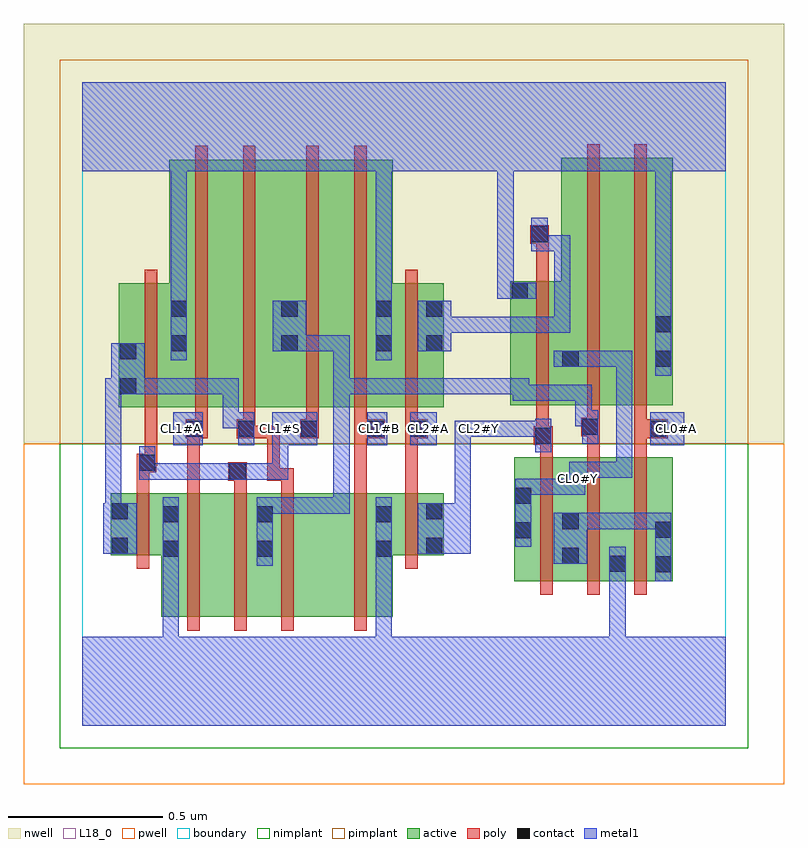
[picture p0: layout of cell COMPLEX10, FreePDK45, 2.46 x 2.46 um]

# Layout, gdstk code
import gdstk
lib = gdstk.Library(unit=1e-6, precision=1e-09)
def R(c, l, rs):  # rectangles x0, y0, x1, y1
    for r in rs: c.add(gdstk.rectangle(r[:2], r[2:], *l))
def A(c, l, x, y, w, h, nx, ny, dx, dy):  # array of equal rectangles
    R(c, l, [(x+i*dx, y+j*dy, x+i*dx+w, y+j*dy+h) for i in range(nx) for j in range(ny)])
active = (1, 0)
pwell = (2, 0)
nwell = (3, 0)
nimplant = (4, 0)
pimplant = (5, 0)
poly = (9, 0)
contact = (10, 0)
metal1 = (11, 0)
L18_0 = (18, 0)
boundary = (235, 0)

complex10 = lib.new_cell('COMPLEX10')
R(complex10, active, [(0.256,0.352,0.436,0.752), (0.436,0.352,0.62,0.752), (0.56,0.352,0.824,0.752), (0.824,0.352,1.004,0.752), (0.56,0.468,0.62,0.714), (1.396,0.468,1.456,0.868), (1.396,0.468,1.608,0.868), (1.548,0.468,1.76,0.868), (1.548,0.468,1.608,0.692), (1.7,0.468,1.908,0.868), (1.7,0.468,1.76,0.854), (1.848,0.468,1.908,0.868), (0.256,0.542,0.316,0.714), (0.944,0.542,1.004,0.752), (0.092,0.552,0.152,0.752), (0.092,0.552,0.316,0.752), (0.944,0.552,1.168,0.752), (1.108,0.552,1.168,0.752), (0.118,1.03,0.342,1.43), (0.118,1.03,0.178,1.356), (0.282,1.03,0.342,1.378), (0.282,1.03,0.464,1.83), (0.464,1.03,0.7,1.83), (0.64,1.03,0.824,1.83), (0.824,1.03,1.004,1.83), (0.944,1.03,1.168,1.43), (0.944,1.03,1.004,1.378), (1.108,1.03,1.168,1.378), (1.384,1.036,1.444,1.436), (1.384,1.036,1.608,1.436), (1.548,1.036,1.728,1.836), (1.728,1.036,1.908,1.836), (1.848,1.036,1.908,1.756), (1.548,1.156,1.608,1.62), (0.64,1.206,0.7,1.724)])
R(complex10, pwell, [(-0.188,-0.188,2.268,0.912)])
R(complex10, nwell, [(-0.188,0.912,2.268,2.268)])
R(complex10, nimplant, [(-0.072,-0.072,2.152,0.912)])
R(complex10, pimplant, [(-0.072,0.912,2.152,2.152)])
A(complex10, poly, 0.34, 0.308, 0.04, 0.488, 3, 1, 0.152, 0)
A(complex10, poly, 1.48, 0.424, 0.04, 0.488, 3, 1, 0.152, 0)
R(complex10, poly, [(0.88,0.308,0.92,0.796), (0.176,0.508,0.216,0.796), (1.044,0.508,1.084,0.796), (0.176,0.756,0.216,0.86), (0.34,0.756,0.38,0.97), (0.492,0.756,0.532,0.832), (0.644,0.756,0.684,0.832), (0.88,0.756,0.92,0.97), (1.044,0.756,1.084,0.97), (0.472,0.792,0.532,0.852), (0.598,0.792,0.638,0.832), (0.598,0.792,0.684,0.832), (0.598,0.792,0.638,0.97), (0.644,0.792,0.684,0.832), (0.176,0.82,0.24,0.88), (0.2,0.84,0.24,0.88), (0.2,0.84,0.242,0.88), (0.202,0.84,0.242,1.026), (1.48,0.872,1.52,0.948), (1.632,0.872,1.672,0.976), (1.784,0.872,1.824,0.97), (1.46,0.908,1.52,0.968), (1.468,0.928,1.508,0.968), (1.468,0.928,1.508,0.968), (1.468,0.928,1.508,1.032), (0.334,0.93,0.406,0.99), (0.34,0.93,0.38,0.97), (0.34,0.93,0.38,0.97), (0.5,0.93,0.56,0.99), (0.52,0.93,0.638,0.97), (0.598,0.93,0.638,0.97), (0.704,0.93,0.764,0.99), (0.88,0.93,0.978,0.99), (1.044,0.93,1.116,0.99), (1.784,0.93,1.892,0.99), (1.612,0.936,1.672,0.996), (1.632,0.936,1.672,0.976), (1.632,0.936,1.672,0.976), (0.366,0.95,0.406,1.026), (0.52,0.95,0.56,1.026), (0.724,0.95,0.764,1.026), (0.88,0.95,0.92,0.99), (0.88,0.95,0.92,0.99), (0.88,0.95,0.92,1.026), (1.044,0.95,1.084,0.99), (1.044,0.95,1.084,0.99), (1.044,0.95,1.084,1.026), (1.784,0.95,1.824,1.032), (1.784,0.95,1.824,0.99), (1.784,0.95,1.824,0.99), (1.632,0.956,1.672,1.032), (0.202,0.986,0.242,1.474), (0.366,0.986,0.406,1.874), (0.52,0.986,0.56,1.874), (0.724,0.986,0.764,1.874), (0.88,0.986,0.92,1.874), (1.044,0.986,1.084,1.474), (1.468,0.992,1.508,1.48), (1.632,0.992,1.672,1.88), (1.784,0.992,1.824,1.88), (1.468,1.44,1.508,1.598), (1.448,1.558,1.508,1.618)])
R(complex10, contact, [(1.852,0.496,1.904,0.548), (1.704,0.498,1.756,0.55), (1.552,0.524,1.604,0.576), (0.26,0.546,0.312,0.598), (0.564,0.546,0.616,0.598), (0.948,0.546,1,0.598), (0.096,0.556,0.148,0.608), (1.112,0.556,1.164,0.608), (1.4,0.606,1.452,0.658), (1.852,0.608,1.904,0.66), (1.552,0.636,1.604,0.688), (0.26,0.658,0.312,0.71), (0.564,0.658,0.616,0.71), (0.948,0.658,1,0.71), (0.096,0.668,0.148,0.72), (1.112,0.668,1.164,0.72), (1.4,0.718,1.452,0.77), (0.476,0.796,0.528,0.848), (0.184,0.824,0.236,0.876), (1.464,0.912,1.516,0.964), (0.338,0.934,0.39,0.986), (0.504,0.934,0.556,0.986), (0.708,0.934,0.76,0.986), (0.922,0.934,0.974,0.986), (1.06,0.934,1.112,0.986), (1.836,0.934,1.888,0.986), (1.616,0.94,1.668,0.992), (0.122,1.072,0.174,1.124), (1.552,1.16,1.604,1.212), (1.852,1.16,1.904,1.212), (0.122,1.184,0.174,1.236), (0.286,1.21,0.338,1.262), (0.644,1.21,0.696,1.262), (0.948,1.21,1,1.262), (1.112,1.21,1.164,1.262), (1.852,1.272,1.904,1.324), (0.286,1.322,0.338,1.374), (0.644,1.322,0.696,1.374), (0.948,1.322,1,1.374), (1.112,1.322,1.164,1.374), (1.388,1.38,1.44,1.432), (1.452,1.562,1.504,1.614)])
R(complex10, metal1, [(0,0,2.08,0.288), (0.26,0.236,0.312,0.288), (0.26,0.236,0.312,0.288), (0.26,0.236,0.312,0.57), (0.948,0.236,1,0.57), (1.704,0.236,1.756,0.288), (1.704,0.236,1.756,0.288), (1.704,0.236,1.756,0.522), (1.852,0.468,1.904,0.688), (1.704,0.47,1.756,0.578), (0.26,0.518,0.312,0.738), (0.564,0.518,0.616,0.738), (0.948,0.518,1,0.738), (0.948,0.518,1,0.57), (0.948,0.518,1,0.57), (1.524,0.524,1.632,0.688), (0.068,0.556,0.176,0.72), (1.084,0.556,1.256,0.72), (1.4,0.578,1.452,0.798), (1.58,0.636,1.778,0.688), (1.726,0.636,1.778,0.688), (1.726,0.636,1.778,0.688), (1.726,0.636,1.778,0.688), (1.726,0.636,1.778,0.688), (1.726,0.636,1.778,0.688), (1.726,0.636,1.904,0.688), (1.852,0.636,1.904,0.688), (1.852,0.636,1.904,0.688), (0.074,0.668,0.126,1.124), (1.204,0.668,1.256,0.986), (0.564,0.686,0.864,0.738), (0.812,0.686,0.864,0.738), (0.812,0.686,0.864,0.738), (0.812,0.686,0.864,0.738), (0.812,0.686,0.864,0.738), (0.812,0.686,0.864,0.738), (0.812,0.686,0.864,1.124), (1.4,0.746,1.452,0.798), (1.4,0.746,1.452,0.798), (1.4,0.746,1.626,0.798), (1.574,0.746,1.626,0.798), (1.574,0.746,1.626,0.798), (1.574,0.746,1.626,0.854), (0.184,0.796,0.236,0.904), (0.184,0.796,0.39,0.848), (0.338,0.796,0.39,0.848), (0.338,0.796,0.39,0.848), (0.338,0.796,0.39,0.848), (0.338,0.796,0.5,0.848), (0.448,0.796,0.5,0.848), (0.448,0.796,0.5,0.848), (0.448,0.796,0.556,0.848), (0.504,0.796,0.666,0.848), (0.614,0.796,0.666,0.848), (0.614,0.796,0.666,0.958), (1.574,0.802,1.778,0.854), (1.726,0.802,1.778,0.854), (1.726,0.802,1.778,0.854), (1.726,0.802,1.778,0.854), (1.726,0.802,1.778,1.212), (1.464,0.884,1.516,0.992), (0.294,0.906,0.39,1.014), (0.504,0.906,0.556,1.014), (0.614,0.906,0.666,0.958), (0.614,0.906,0.666,0.958), (0.614,0.906,0.76,1.014), (0.922,0.906,0.986,1.014), (1.06,0.906,1.146,1.014), (1.836,0.906,1.946,1.014), (1.616,0.912,1.668,1.02), (1.204,0.934,1.334,0.986), (1.282,0.934,1.334,0.986), (1.282,0.934,1.334,0.986), (1.282,0.934,1.516,0.986), (0.454,0.962,0.506,1.014), (0.454,0.962,0.506,1.124), (0.454,0.962,0.556,1.014), (1.594,0.968,1.668,1.02), (1.594,0.968,1.646,1.102), (1.392,1.05,1.444,1.102), (1.392,1.05,1.444,1.102), (1.392,1.05,1.646,1.102), (1.392,1.05,1.444,1.124), (0.074,1.072,0.126,1.124), (0.074,1.072,0.126,1.124), (0.074,1.072,0.146,1.124), (0.094,1.072,0.146,1.124), (0.094,1.072,0.202,1.236), (0.15,1.072,0.202,1.124), (0.15,1.072,0.202,1.124), (0.15,1.072,0.346,1.124), (0.294,1.072,0.346,1.124), (0.294,1.072,0.346,1.124), (0.294,1.072,0.346,1.124), (0.294,1.072,0.506,1.124), (0.454,1.072,0.506,1.124), (0.812,1.072,0.864,1.124), (0.812,1.072,1.002,1.124), (0.812,1.072,0.864,1.262), (0.95,1.072,1.002,1.124), (0.95,1.072,1.002,1.124), (0.95,1.072,1.002,1.124), (0.95,1.072,1.204,1.124), (1.152,1.072,1.204,1.124), (1.152,1.072,1.204,1.124), (1.152,1.072,1.204,1.124), (1.152,1.072,1.444,1.124), (1.852,1.132,1.904,1.352), (1.524,1.16,1.632,1.212), (1.58,1.16,1.778,1.212), (1.726,1.16,1.778,1.212), (1.726,1.16,1.778,1.212), (1.726,1.16,1.778,1.212), (1.726,1.16,1.778,1.212), (1.726,1.16,1.778,1.212), (0.286,1.182,0.338,1.402), (0.948,1.182,1,1.402), (0.616,1.21,0.724,1.374), (0.672,1.21,0.864,1.262), (0.812,1.21,0.864,1.262), (0.812,1.21,0.864,1.262), (0.812,1.21,0.864,1.262), (1.084,1.21,1.192,1.374), (1.14,1.27,1.444,1.322), (1.392,1.27,1.444,1.322), (1.392,1.27,1.444,1.322), (1.392,1.27,1.444,1.322), (1.392,1.27,1.578,1.322), (1.526,1.27,1.578,1.322), (1.526,1.27,1.578,1.586), (1.852,1.3,1.904,1.844), (0.286,1.35,0.338,1.844), (0.948,1.35,1,1.844), (1.342,1.38,1.468,1.432), (1.342,1.38,1.394,1.844), (1.452,1.534,1.504,1.642), (1.452,1.534,1.578,1.586), (1.526,1.534,1.578,1.586), (1.526,1.534,1.578,1.586), (1.526,1.534,1.578,1.586), (0,1.792,2.08,2.08), (1.342,1.792,1.394,1.844), (1.342,1.792,1.394,1.844), (1.342,1.792,1.394,1.844), (1.342,1.792,1.394,1.844), (1.342,1.792,1.394,1.844), (1.342,1.792,1.394,1.844), (1.342,1.792,1.394,1.844), (1.342,1.792,1.394,1.844)])
A(complex10, L18_0, 0.294, 0.934, 0.052, 0.052, 3, 1, 0.32, 0)
R(complex10, L18_0, [(0,0,2.08,0.288), (0.26,0.236,0.312,0.288), (0.26,0.236,0.312,0.288), (0.26,0.236,0.312,0.57), (0.948,0.236,1,0.57), (1.704,0.236,1.756,0.288), (1.704,0.236,1.756,0.288), (1.704,0.236,1.756,0.522), (1.704,0.47,1.756,0.578), (0.26,0.518,0.312,0.738), (0.948,0.518,1,0.57), (0.948,0.518,1,0.57), (0.948,0.518,1,0.738), (1.084,0.556,1.256,0.72), (1.4,0.578,1.452,0.798), (1.204,0.668,1.256,0.986), (1.4,0.746,1.452,0.798), (1.4,0.746,1.452,0.798), (1.4,0.746,1.626,0.798), (1.574,0.746,1.626,0.854), (1.574,0.746,1.626,0.798), (1.574,0.746,1.626,0.798), (1.574,0.774,1.626,0.826), (0.184,0.796,0.236,0.904), (0.184,0.796,0.39,0.848), (0.338,0.796,0.39,0.848), (0.338,0.796,0.39,0.848), (0.338,0.796,0.39,0.848), (0.338,0.796,0.5,0.848), (0.448,0.796,0.5,0.848), (0.448,0.796,0.5,0.848), (0.448,0.796,0.556,0.848), (0.504,0.796,0.666,0.848), (0.614,0.796,0.666,0.848), (0.614,0.796,0.666,0.958), (1.574,0.802,1.778,0.854), (1.726,0.802,1.778,0.854), (1.726,0.802,1.778,0.854), (1.726,0.802,1.778,0.854), (1.726,0.802,1.778,1.212), (1.464,0.884,1.516,0.992), (0.294,0.906,0.39,1.014), (0.614,0.906,0.666,0.958), (0.614,0.906,0.666,0.958), (0.614,0.906,0.76,1.014), (0.922,0.906,0.986,1.014), (1.06,0.906,1.146,1.014), (1.836,0.906,1.946,1.014), (1.094,0.934,1.146,0.986), (1.204,0.934,1.334,0.986), (1.254,0.934,1.306,0.986), (1.282,0.934,1.334,0.986), (1.282,0.934,1.334,0.986), (1.282,0.934,1.516,0.986), (1.894,0.934,1.946,0.986), (1.852,1.132,1.904,1.352), (1.524,1.16,1.632,1.212), (1.58,1.16,1.778,1.212), (1.726,1.16,1.778,1.212), (1.726,1.16,1.778,1.212), (1.726,1.16,1.778,1.212), (1.726,1.16,1.778,1.212), (1.726,1.16,1.778,1.212), (0.286,1.182,0.338,1.402), (0.948,1.182,1,1.402), (1.084,1.21,1.192,1.374), (1.14,1.27,1.444,1.322), (1.392,1.27,1.444,1.322), (1.392,1.27,1.444,1.322), (1.392,1.27,1.444,1.322), (1.392,1.27,1.578,1.322), (1.526,1.27,1.578,1.322), (1.526,1.27,1.578,1.586), (1.852,1.3,1.904,1.844), (0.286,1.35,0.338,1.844), (0.948,1.35,1,1.844), (1.342,1.38,1.468,1.432), (1.342,1.38,1.394,1.844), (1.452,1.534,1.504,1.642), (1.452,1.534,1.578,1.586), (1.526,1.534,1.578,1.586), (1.526,1.534,1.578,1.586), (1.526,1.534,1.578,1.586), (0,1.792,2.08,2.08), (1.342,1.792,1.394,1.844), (1.342,1.792,1.394,1.844), (1.342,1.792,1.394,1.844), (1.342,1.792,1.394,1.844), (1.342,1.792,1.394,1.844), (1.342,1.792,1.394,1.844), (1.342,1.792,1.394,1.844), (1.342,1.792,1.394,1.844)])
R(complex10, boundary, [(0,0,2.08,2.08)])
complex10.add(gdstk.Label('CL0#A', (1.92,0.96), layer=11, texttype=0))
complex10.add(gdstk.Label('CL0#Y', (1.6,0.8), layer=11, texttype=0))
complex10.add(gdstk.Label('CL1#A', (0.32,0.96), layer=11, texttype=0))
complex10.add(gdstk.Label('CL1#B', (0.96,0.96), layer=11, texttype=0))
complex10.add(gdstk.Label('CL1#S', (0.64,0.96), layer=11, texttype=0))
complex10.add(gdstk.Label('CL2#A', (1.12,0.96), layer=11, texttype=0))
complex10.add(gdstk.Label('CL2#Y', (1.28,0.96), layer=11, texttype=0))

lib.write_gds('COMPLEX10.gds')
